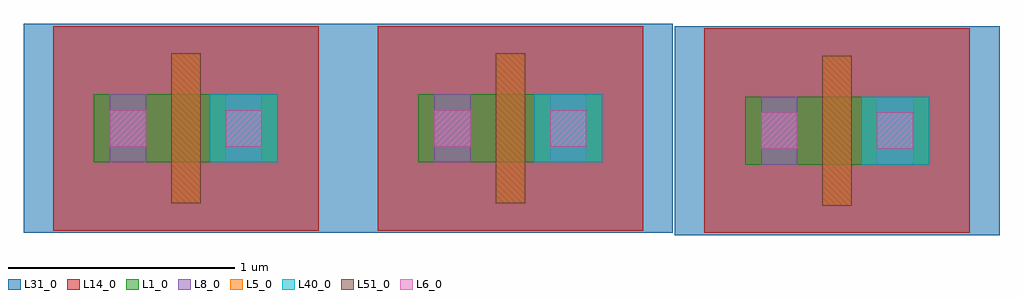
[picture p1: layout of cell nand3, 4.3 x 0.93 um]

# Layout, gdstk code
import gdstk
lib = gdstk.Library(unit=1e-6, precision=5e-09)
def R(c, l, rs):  # rectangles x0, y0, x1, y1
    for r in rs: c.add(gdstk.rectangle(r[:2], r[2:], *l))
L1_0 = (1, 0)
L5_0 = (5, 0)
L6_0 = (6, 0)
L8_0 = (8, 0)
L14_0 = (14, 0)
L31_0 = (31, 0)
L40_0 = (40, 0)
L51_0 = (51, 0)

pmos = lib.new_cell('pmos')
R(pmos, L1_0, [(0,0,0.3,0.3), (0,0,0.81,0.3), (0.51,0,0.81,0.3)])
R(pmos, L5_0, [(0.34,-0.18,0.47,0.48), (0.34,-0.18,0.47,0.48)])
R(pmos, L6_0, [(0.07,0.07,0.23,0.23), (0.58,0.07,0.74,0.23)])
R(pmos, L8_0, [(0.07,0,0.23,0.3), (0.07,0,0.23,0.3), (0.58,0,0.74,0.3), (0.58,0,0.74,0.3)])
R(pmos, L14_0, [(-0.18,-0.3,0.99,0.6)])
R(pmos, L31_0, [(-0.31,-0.31,1.12,0.61)])
R(pmos, L40_0, [(0.51,0,0.81,0.3)])
R(pmos, L51_0, [(0.34,-0.18,0.47,0.48)])
pmos.add(gdstk.Label('pmos', (0.405,0.15), layer=63, texttype=0))
pmos.add(gdstk.Label('pmos', (0.405,0.15), layer=51, texttype=0))

nand3 = lib.new_cell('nand3')
nand3.add(gdstk.Reference(pmos, (1.74,0.31)))
nand3.add(gdstk.Reference(pmos, (3.18,0.3)))
nand3.add(gdstk.Reference(pmos, (0.31,0.31)))

lib.write_gds('nand3.gds')
